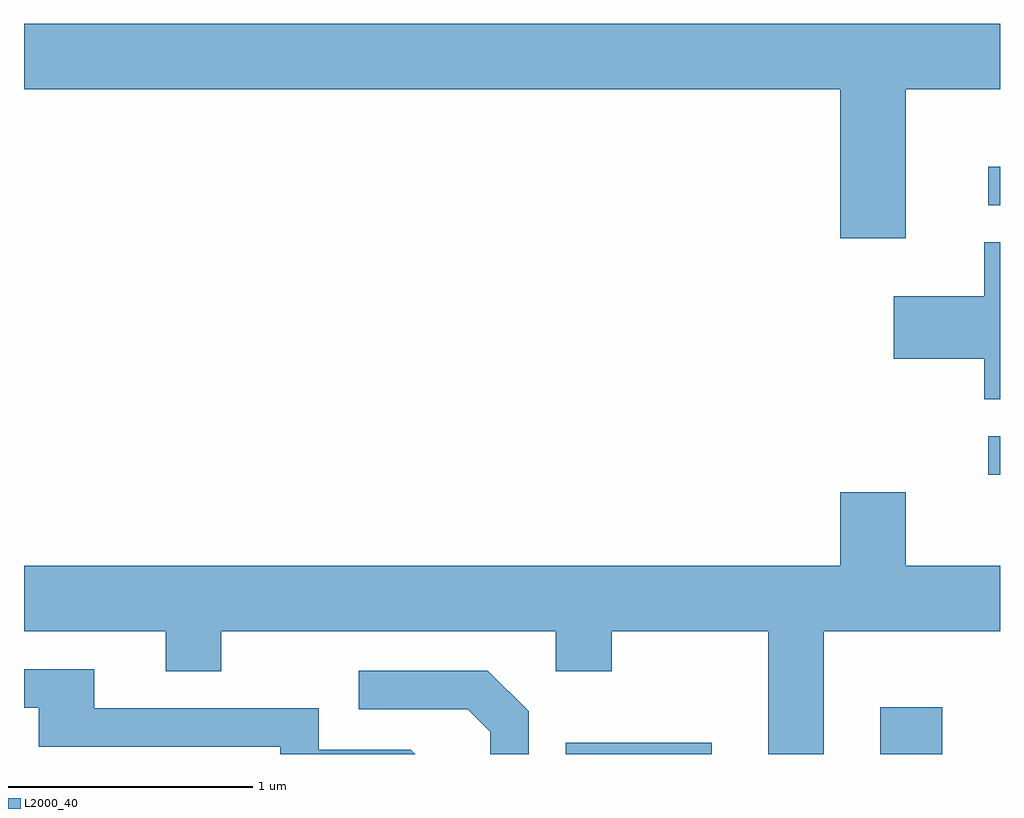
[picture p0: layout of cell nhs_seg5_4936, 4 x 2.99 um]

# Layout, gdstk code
import gdstk
lib = gdstk.Library(unit=1e-6, precision=1e-09)
def R(c, l, rs):  # rectangles x0, y0, x1, y1
    for r in rs: c.add(gdstk.rectangle(r[:2], r[2:], *l))
def P(c, l, *ps):  # polygons
    for p in ps: c.add(gdstk.Polygon(p, *l))
L2000_40 = (2000, 40)

nhs_seg5_4936 = lib.new_cell('nhs_seg5_4936')
R(nhs_seg5_4936, L2000_40, [(333.831,1454.072,334.429,1454.119), (335.121,1454.072,335.374,1454.264), (335.563,1455.216,335.611,1455.374), (335.563,1456.321,335.611,1456.479)])
P(nhs_seg5_4936, L2000_40, [(335.224,1456.796),(335.611,1456.796),(335.611,1457.064),(331.611,1457.064),(331.611,1456.796),(334.956,1456.796),(334.956,1456.186),(335.224,1456.186)],
  [(335.611,1456.169),(335.546,1456.169),(335.546,1455.949),(335.176,1455.949),(335.176,1455.691),(335.546,1455.691),(335.546,1455.526),(335.611,1455.526)],
  [(334.889,1454.576),(335.611,1454.576),(335.611,1454.844),(335.224,1454.844),(335.224,1455.144),(334.956,1455.144),(334.956,1454.844),(331.611,1454.844),(331.611,1454.576),(332.191,1454.576),(332.191,1454.411),(332.419,1454.411),(332.419,1454.576),(333.791,1454.576),(333.791,1454.411),(334.019,1454.411),(334.019,1454.576),(334.661,1454.576),(334.661,1454.072),(334.889,1454.072)],
  [(333.197,1454.089),(332.819,1454.089),(332.819,1454.259),(331.899,1454.259),(331.899,1454.419),(331.611,1454.419),(331.611,1454.261),(331.671,1454.261),(331.671,1454.101),(332.661,1454.101),(332.661,1454.072),(333.214,1454.072)],
  [(333.679,1454.247),(333.512,1454.414),(332.983,1454.414),(332.983,1454.256),(333.429,1454.256),(333.521,1454.164),(333.521,1454.072),(333.679,1454.072)])

lib.write_gds('nhs_seg5_4936.gds')
